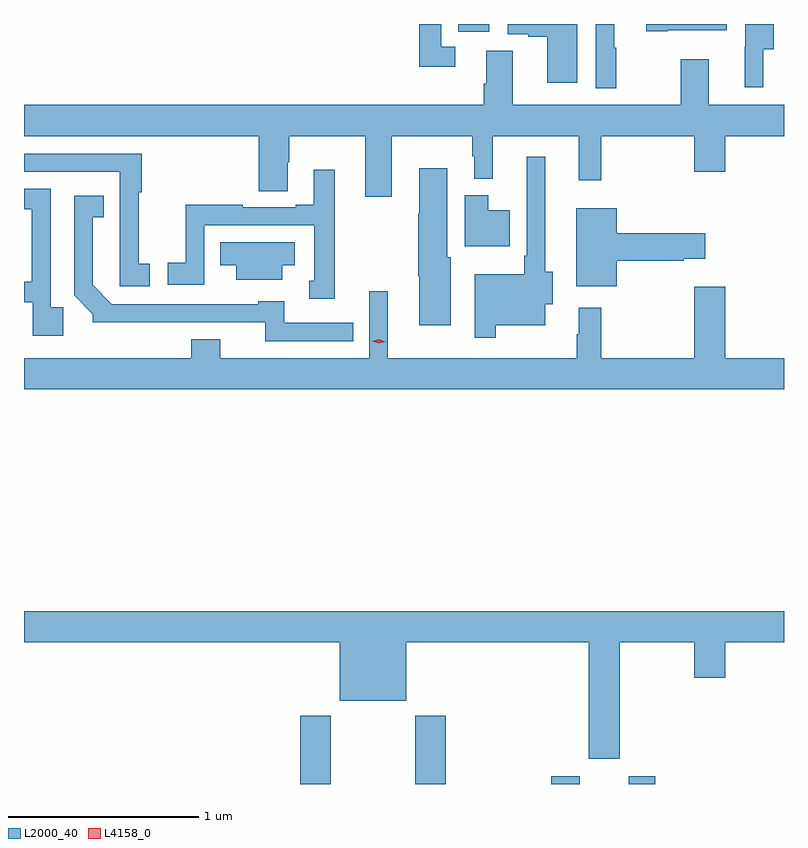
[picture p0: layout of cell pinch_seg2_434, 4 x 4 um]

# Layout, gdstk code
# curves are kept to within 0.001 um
import gdstk
lib = gdstk.Library(unit=1e-6, precision=1e-09)
def R(c, l, rs):  # rectangles x0, y0, x1, y1
    for r in rs: c.add(gdstk.rectangle(r[:2], r[2:], *l))
def P(c, l, *ps):  # polygons
    for p in ps: c.add(gdstk.Polygon(p, *l))
L2000_40 = (2000, 40)
L4158_0 = (4158, 0)

pinch_seg2_434 = lib.new_cell('pinch_seg2_434')
R(pinch_seg2_434, L2000_40, [(906.191,616.254,906.351,616.612), (906.796,616.254,906.956,616.612), (907.511,616.254,907.663,616.294), (907.919,616.254,908.059,616.294), (907.022,620.214,907.186,620.254)])
P(pinch_seg2_434, L2000_40, [(908.125,620.222),(908.435,620.222),(908.435,620.254),(908.013,620.254),(908.013,620.215),(908.125,620.215)],
  [(907.648,620.254),(907.284,620.254),(907.284,620.199),(907.391,620.199),(907.391,620.187),(907.49,620.187),(907.49,619.944),(907.648,619.944)],
  [(907.006,620.133),(906.933,620.133),(906.933,620.254),(906.817,620.254),(906.817,620.028),(907.006,620.028)],
  [(907.855,620.129),(907.843,620.129),(907.843,620.254),(907.746,620.254),(907.746,619.917),(907.855,619.917)],
  [(908.629,620.122),(908.683,620.122),(908.683,620.254),(908.532,620.254),(908.532,620.133),(908.531,620.133),(908.531,619.92),(908.629,619.92)],
  [(906.673,619.664),(907.095,619.664),(907.095,619.557),(907.106,619.557),(907.106,619.439),(907.205,619.439),(907.205,619.664),(907.658,619.664),(907.658,619.431),(907.775,619.431),(907.775,619.664),(908.264,619.664),(908.264,619.476),(908.428,619.476),(908.428,619.664),(908.737,619.664),(908.737,619.828),(908.341,619.828),(908.341,620.068),(908.194,620.068),(908.194,619.828),(907.309,619.828),(907.309,620.114),(907.169,620.114),(907.169,619.94),(907.157,619.94),(907.157,619.828),(904.737,619.828),(904.737,619.664),(905.972,619.664),(905.972,619.375),(906.124,619.375),(906.124,619.526),(906.132,619.526),(906.132,619.664),(906.533,619.664),(906.533,619.344),(906.673,619.344)],
  [(905.398,618.993),(905.34,618.993),(905.34,619.369),(905.357,619.369),(905.357,619.572),(904.737,619.572),(904.737,619.476),(905.241,619.476),(905.241,619.148),(905.24,619.148),(905.24,618.873),(905.398,618.873)],
  [(907.219,618.668),(907.48,618.668),(907.48,618.779),(907.519,618.779),(907.519,618.95),(907.48,618.95),(907.48,619.555),(907.383,619.555),(907.383,619.033),(907.371,619.033),(907.371,618.937),(907.11,618.937),(907.11,618.603),(907.219,618.603)],
  [(906.982,619.026),(906.964,619.026),(906.964,619.495),(906.818,619.495),(906.818,619.256),(906.811,619.256),(906.811,618.926),(906.818,618.926),(906.818,618.668),(906.982,618.668)],
  [(906.373,619.486),(906.263,619.486),(906.263,619.303),(906.167,619.303),(906.167,619.29),(905.888,619.29),(905.888,619.303),(905.587,619.303),(905.587,618.998),(905.493,618.998),(905.493,618.882),(905.685,618.882),(905.685,619.194),(906.264,619.194),(906.264,618.903),(906.239,618.903),(906.239,618.809),(906.373,618.809)],
  [(904.943,618.763),(904.878,618.763),(904.878,619.386),(904.737,619.386),(904.737,619.278),(904.777,619.278),(904.777,618.898),(904.737,618.898),(904.737,618.789),(904.782,618.789),(904.782,618.612),(904.943,618.612)],
  [(907.294,619.273),(907.18,619.273),(907.18,619.354),(907.058,619.354),(907.058,619.085),(907.294,619.085)],
  [(906.47,618.681),(906.106,618.681),(906.106,618.796),(905.97,618.796),(905.97,618.78),(905.199,618.78),(905.098,618.881),(905.098,619.238),(905.156,619.238),(905.156,619.351),(905.001,619.351),(905.001,618.826),(905.1,618.727),(905.1,618.683),(906.007,618.684),(906.007,618.585),(906.47,618.585)],
  [(907.858,619.007),(908.21,619.007),(908.21,619.019),(908.323,619.019),(908.323,619.154),(907.858,619.154),(907.858,619.285),(907.643,619.285),(907.643,618.875),(907.858,618.875)],
  [(906.097,618.983),(906.163,618.983),(906.163,619.105),(905.77,619.105),(905.77,618.983),(905.855,618.983),(905.855,618.908),(906.097,618.908)],
  [(908.737,618.496),(908.428,618.496),(908.428,618.871),(908.264,618.871),(908.264,618.496),(907.775,618.496),(907.775,618.76),(907.658,618.76),(907.658,618.62),(907.647,618.62),(907.647,618.496),(906.652,618.496),(906.652,618.847),(906.555,618.847),(906.555,618.496),(905.77,618.496),(905.77,618.595),(905.618,618.595),(905.618,618.496),(904.737,618.496),(904.737,618.332),(908.737,618.332)],
  [(907.873,617),(908.264,617),(908.264,616.812),(908.428,616.812),(908.428,617),(908.737,617),(908.737,617.164),(904.737,617.164),(904.737,617),(906.398,617),(906.398,616.691),(906.748,616.691),(906.748,617),(907.709,617),(907.709,616.386),(907.873,616.386)])
P(pinch_seg2_434, L4158_0, [(906.604,618.574),(906.569,618.585),(906.569,618.585),(906.569,618.585),(906.604,618.594),(906.639,618.582),(906.639,618.582),(906.639,618.582)])

lib.write_gds('pinch_seg2_434.gds')
